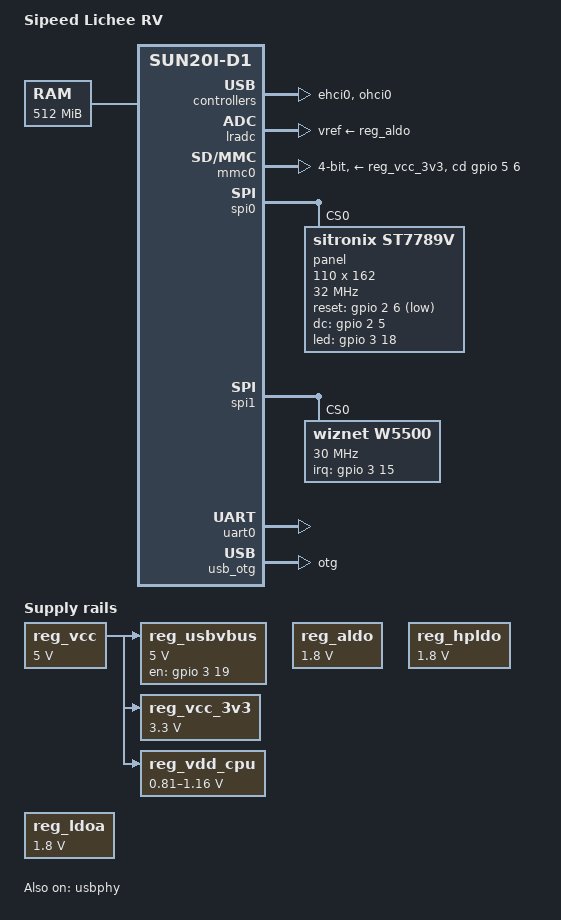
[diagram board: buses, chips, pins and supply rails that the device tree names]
// SPDX-License-Identifier: (GPL-2.0+ or MIT)
// Copyright (C) 2021 Samuel Holland <samuel@sholland.org>

/dts-v1/;

#include "sun20i-d1.dtsi"

#include <dt-bindings/gpio/gpio.h>
#include <dt-bindings/input/input.h>
#include <dt-bindings/leds/common.h>
#include <dt-bindings/pwm/pwm.h>

/ {
	model = "Sipeed Lichee RV";
	compatible = "sipeed,lichee-rv", "allwinner,sun20i-d1";

	aliases {
		mmc0 = &mmc0;
		serial0 = &uart0;
		spi0 = &spi0;
		spi1 = &spi1;
	};

	memory@40000000 {
		device_type = "memory";
		reg = <0x40000000 0x20000000>;
	};

	chosen {
		stdout-path = "serial0:115200n8";
	};

	reg_usbvbus: usbvbus {
		compatible = "regulator-fixed";
		regulator-name = "usbvbus";
		regulator-min-microvolt = <5000000>;
		regulator-max-microvolt = <5000000>;
		gpio = <&gpio 3 19 GPIO_ACTIVE_HIGH>; /* PD19 */
		enable-active-high;
		vin-supply = <&reg_vcc>;
	};

	reg_vcc: vcc {
		compatible = "regulator-fixed";
		regulator-name = "vcc";
		regulator-min-microvolt = <5000000>;
		regulator-max-microvolt = <5000000>;
	};

	reg_vcc_3v3: vcc-3v3 {
		compatible = "regulator-fixed";
		regulator-name = "vcc-3v3";
		regulator-min-microvolt = <3300000>;
		regulator-max-microvolt = <3300000>;
		vin-supply = <&reg_vcc>;
	};

	reg_vdd_cpu: vdd-cpu {
		compatible = "pwm-regulator";
		pwms = <&pwm 0 50000 0>;
		pwm-supply = <&reg_vcc>;
		regulator-name = "vdd-cpu";
		regulator-min-microvolt = <810000>;
		regulator-max-microvolt = <1160000>;
	};
};

&cpu0 {
	cpu-supply = <&reg_vdd_cpu>;
};

&ehci0 {
	status = "okay";
};

&gpio {
	vcc-pa-supply = <&reg_vcc_3v3>;
	vcc-pb-supply = <&reg_vcc_3v3>;
	vcc-pc-supply = <&reg_vcc_3v3>;
	vcc-pd-supply = <&reg_vcc_3v3>;
	vcc-pe-supply = <&reg_vcc_3v3>;
	vcc-pf-supply = <&reg_vcc_3v3>;
	vcc-pg-supply = <&reg_vcc_3v3>;
};

&lradc {
	vref-supply = <&reg_aldo>;
	wakeup-source;
	status = "okay";

	button-160 {
		label = "OK";
		linux,code = <KEY_OK>;
		channel = <0>;
		voltage = <160000>;
	};
};

&mmc0 {
	bus-width = <4>;
	cd-gpios = <&gpio 5 6 GPIO_ACTIVE_HIGH>; /* PF6 */
	disable-wp;
	vmmc-supply = <&reg_vcc_3v3>;
	vqmmc-supply = <&reg_vcc_3v3>;
	pinctrl-0 = <&mmc0_pins>;
	pinctrl-names = "default";
	status = "okay";
};

&ohci0 {
	status = "okay";
};

&reg_aldo {
	regulator-min-microvolt = <1800000>;
	regulator-max-microvolt = <1800000>;
	vdd33-supply = <&reg_vcc_3v3>;
};

&reg_hpldo {
	regulator-min-microvolt = <1800000>;
	regulator-max-microvolt = <1800000>;
	hpldoin-supply = <&reg_vcc_3v3>;
};

&reg_ldoa {
	regulator-always-on;
	regulator-min-microvolt = <1800000>;
	regulator-max-microvolt = <1800000>;
	ldo-in-supply = <&reg_vcc_3v3>;
};

&spi0 {
	pinctrl-0 = <&spi0_pins>;
	pinctrl-names = "default";
	status = "okay";
	num-cs = <1>;

	panel@0 {
		compatible = "sitronix,st7789v";
    buswidth = <0x8>;
		reg = <0>;
		reset-gpios = <&gpio 2 6 GPIO_ACTIVE_LOW>; /* PC6 */
		dc-gpios = <&gpio 2 5 GPIO_ACTIVE_HIGH>; /* PC5 */
		led-gpios = <&gpio 3 18 GPIO_ACTIVE_HIGH>; /* PD18 */
		spi-max-frequency = <32000000>;
    // FIXME: should have offsets; the screen really is 80x160
    width = <110>;
    height = <162>;
    bgr = <1>;
    txbuflen = <32768>;
    spi-cpol;
    spi-cpha;
    rotate = <90>;
    fps = <25>;
		status = "okay";
    debug = <0>;
	};
};

// see also https://gist.github.com/renakim/60c4a86ac76520b694ccd377ce3ad007
&spi1 {
	pinctrl-0 = <&spi1_pd_pins>;
	pinctrl-names = "default";
	status = "okay";
	num-cs = <1>;
  #address-cells = <1>;
  #size-cells = <0>;

  w5500: ethernet@0 {
    compatible = "wiznet,w5500";
    reg = <0>;
    spi-max-frequency = <30000000>;
    mac-address = [00 08 DC 01 02 03];
    // TODO: Do we need to configure reset like this?
		// reset-gpios = <&gpio 3 14 GPIO_ACTIVE_LOW>;
    interrupts = <3 15 IRQ_TYPE_EDGE_FALLING>;
    interrupt-parent = <&gpio>;
    status = "okay";
  };
};

&ths {
	vref-supply = <&reg_aldo>;
};

&uart0 {
	pinctrl-0 = <&uart0_pb8_pins>;
	pinctrl-names = "default";
	status = "okay";
};

&usb_otg {
	dr_mode = "otg";
	status = "okay";
};

&usbphy {
	usb0_id_det-gpios = <&gpio 3 21 GPIO_ACTIVE_LOW>; /* PD21 */
	usb0_vbus_det-gpios = <&gpio 3 20 GPIO_ACTIVE_HIGH>; /* PD20 */
	usb0_vbus-supply = <&reg_usbvbus>;
	usb1_vbus-supply = <&reg_vcc>;
	status = "okay";
};
